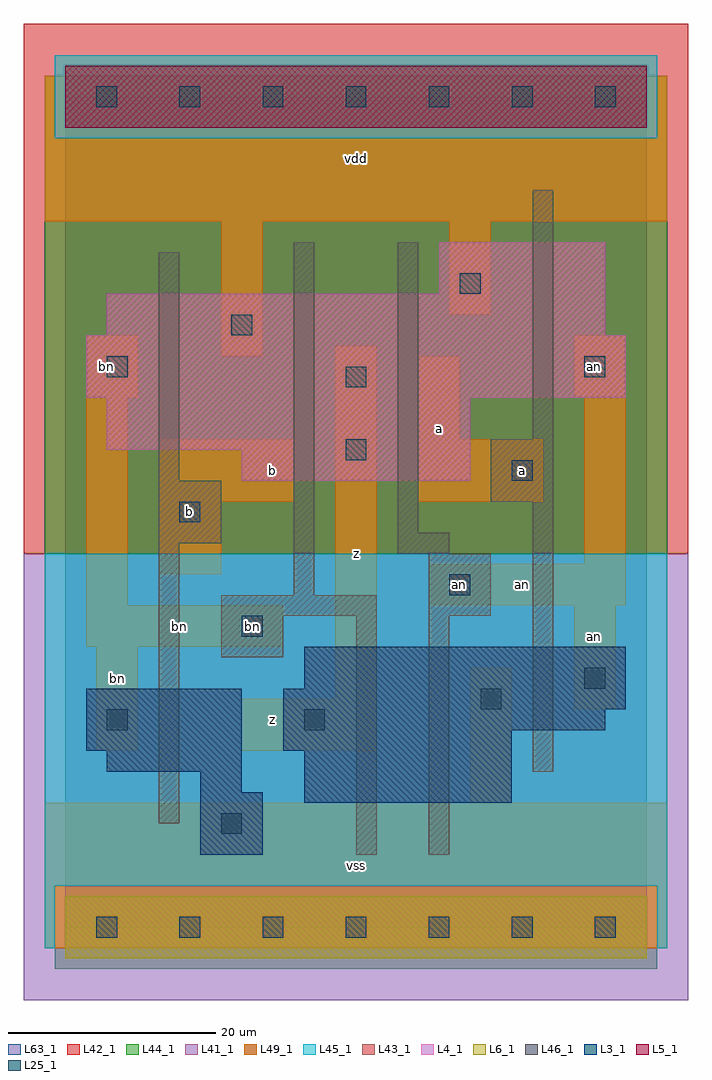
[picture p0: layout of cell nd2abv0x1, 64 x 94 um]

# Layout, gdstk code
import gdstk
lib = gdstk.Library(unit=1e-6, precision=1e-09)
def R(c, l, rs):  # rectangles x0, y0, x1, y1
    for r in rs: c.add(gdstk.rectangle(r[:2], r[2:], *l))
def A(c, l, x, y, w, h, nx, ny, dx, dy):  # array of equal rectangles
    R(c, l, [(x+i*dx, y+j*dy, x+i*dx+w, y+j*dy+h) for i in range(nx) for j in range(ny)])
L3_1 = (3, 1)
L4_1 = (4, 1)
L5_1 = (5, 1)
L6_1 = (6, 1)
L25_1 = (25, 1)
L41_1 = (41, 1)
L42_1 = (42, 1)
L43_1 = (43, 1)
L44_1 = (44, 1)
L45_1 = (45, 1)
L46_1 = (46, 1)
L49_1 = (49, 1)
L63_1 = (63, 1)

nd2abv0x1 = lib.new_cell('nd2abv0x1')
R(nd2abv0x1, L3_1, [(13,7,19,13), (23,12,43,17), (13,13,17,15), (4,15,17,17), (2,17,17,23), (21,17,43,19), (21,19,52,21), (21,21,54,23), (23,23,54,27)])
R(nd2abv0x1, L4_1, [(17,43,39,46), (4,46,39,51), (2,51,54,57), (4,57,52,61), (36,61,52,66)])
R(nd2abv0x1, L5_1, [(0,77,56,83)])
R(nd2abv0x1, L6_1, [(0,-3,56,3), (0,-3,56,3)])
A(nd2abv0x1, L25_1, 3, -1, 2, 2, 7, 2, 8, 80)
R(nd2abv0x1, L25_1, [(15,9,17,11), (4,19,6,21), (23,19,25,21), (40,21,42,23), (50,23,52,25), (17,28,19,30), (37,32,39,34), (11,39,13,41), (43,43,45,45), (27,45,29,47), (27,52,29,54), (4,53,6,55), (50,53,52,55), (16,57,18,59), (38,61,40,63)])
R(nd2abv0x1, L41_1, [(-4,-7,60,36)])
R(nd2abv0x1, L42_1, [(-4,36,60,87)])
R(nd2abv0x1, L43_1, [(0,-3,56,3), (13,7,19,13), (23,12,43,17), (13,13,17,15), (4,15,17,17), (2,17,17,23), (21,17,43,19), (21,19,52,21), (21,21,54,23), (23,23,54,27), (17,43,39,46), (4,46,39,51), (2,51,54,57), (4,57,52,61), (36,61,52,66), (0,77,56,83)])
R(nd2abv0x1, L44_1, [(-1,-4,57,4), (-2,36,58,76), (-2,76,-1,82), (57,76,58,82)])
R(nd2abv0x1, L45_1, [(-2,-2,-1,4), (57,-2,58,4), (-2,4,58,36), (-1,76,57,84)])
R(nd2abv0x1, L46_1, [(28,7,30,30), (35,7,37,30), (9,10,11,37), (45,15,47,41), (15,26,21,30), (15,30,30,32), (35,30,41,36), (22,32,24,66), (32,36,37,38), (9,37,15,43), (32,38,34,66), (41,41,47,47), (9,43,11,65), (45,47,47,71)])
R(nd2abv0x1, L49_1, [(-2,-2,58,12), (39,12,43,25), (3,17,7,27), (17,17,30,22), (49,21,53,31), (26,22,30,56), (2,27,21,31), (2,31,6,51), (35,31,54,35), (9,34,15,41), (50,35,54,51), (9,41,22,47), (34,41,46,47), (34,47,38,55), (2,51,7,57), (49,51,54,57), (15,55,19,68), (37,59,41,68), (-2,68,58,82)])
R(nd2abv0x1, L63_1, [(0,0,56,80)])
nd2abv0x1.add(gdstk.Label('bn', (18,29), layer=49, texttype=1))
nd2abv0x1.add(gdstk.Label('an', (38,33), layer=49, texttype=1))
nd2abv0x1.add(gdstk.Label('bn', (5,24), layer=49, texttype=1))
nd2abv0x1.add(gdstk.Label('bn', (4,54), layer=49, texttype=1))
nd2abv0x1.add(gdstk.Label('z', (20,20), layer=49, texttype=1))
nd2abv0x1.add(gdstk.Label('bn', (11,29), layer=49, texttype=1))
nd2abv0x1.add(gdstk.Label('b', (20,44), layer=49, texttype=1))
nd2abv0x1.add(gdstk.Label('b', (12,40), layer=49, texttype=1))
nd2abv0x1.add(gdstk.Label('vss', (28,6), layer=49, texttype=1))
nd2abv0x1.add(gdstk.Label('z', (28,36), layer=49, texttype=1))
nd2abv0x1.add(gdstk.Label('a', (36,48), layer=49, texttype=1))
nd2abv0x1.add(gdstk.Label('vdd', (28,74), layer=49, texttype=1))
nd2abv0x1.add(gdstk.Label('an', (44,33), layer=49, texttype=1))
nd2abv0x1.add(gdstk.Label('an', (51,28), layer=49, texttype=1))
nd2abv0x1.add(gdstk.Label('a', (44,44), layer=49, texttype=1))
nd2abv0x1.add(gdstk.Label('an', (51,54), layer=49, texttype=1))

lib.write_gds('nd2abv0x1.gds')
